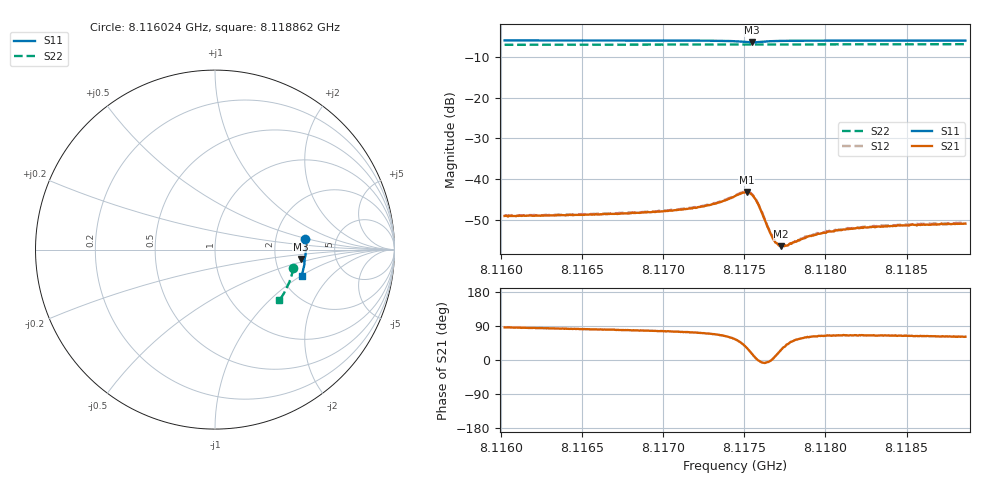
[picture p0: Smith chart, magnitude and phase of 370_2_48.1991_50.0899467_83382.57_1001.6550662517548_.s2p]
#  HZ  S  RI  R  50.00
! Rohde & Schwarz Vector Network Analyzer
! Rohde-Schwarz,ZNB20-2Port,1311601062101988,3.16
! Created: UTC 3/20/2024, 11:52:40 AM
! freq[Hz]  re:S11  im:S11  re:S21  im:S21  re:S12  im:S12  re:S22  im:S22
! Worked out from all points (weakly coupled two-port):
!   401 points, 8.116024 GHz to 8.118862 GHz, reference 50 ohm
!   highest |S21| = -43.22 dB at 8.117514 GHz (marker M1); lowest = -56.5 dB at 8.117727 GHz (marker M2)
!   lowest |S11| = -6.4 dB at 8.11755 GHz (marker M3), VSWR 2.85, Z = 140 - j18.9 ohm
!   |S11| at or under -10 dB: nowhere
!   |S22| runs from -7.0 to -6.8 dB; largest |S21 - S12| = 0.00017
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8.1160242e9  0.5041 0.0563  0.000235 0.0035  0.000303 0.00354  0.4368 -0.1028
8.1164995e9  0.5063 0.0207  0.000522 0.00357  0.000563 0.00366  0.4292 -0.135
8.1169749e9  0.5056 -0.016  0.000944 0.00385  0.001 0.00396  0.4194 -0.1665
8.1172445e9  0.5027 -0.0385  0.00151 0.00434  0.00156 0.00441  0.4126 -0.1841
8.1173368e9  0.5001 -0.0471  0.00201 0.00467  0.00206 0.00474  0.4102 -0.1902
8.1174432e9  0.4928 -0.0577  0.00356 0.00503  0.00369 0.00508  0.407 -0.1971
8.1174857e9  0.4864 -0.0599  0.00485 0.00461  0.00497 0.00469  0.4053 -0.1998
8.1175141e9  0.4813 -0.0585  0.00581 0.00373  0.00594 0.00372  0.4045 -0.2014
8.1175354e9  0.4785 -0.055  0.00617 0.00258  0.00634 0.0026  0.4038 -0.2024
8.1175496e9  0.478 -0.0519  0.00613 0.0017  0.00626 0.00165  0.4035 -0.2032
8.1175851e9  0.4822 -0.0459  0.00493 -5.54e-05  0.00502 -7.36e-05  0.4028 -0.205
8.1176489e9  0.4929 -0.048  0.00244 -0.000224  0.00246 -0.000245  0.4014 -0.2092
8.1176773e9  0.4955 -0.0512  0.00184 0.000101  0.00192 8.58e-05  0.4006 -0.211
8.1176986e9  0.4968 -0.0538  0.00158 0.000371  0.00163 0.000384  0.4001 -0.2124
8.117727e9  0.4979 -0.057  0.00133 0.000667  0.00139 0.000646  0.3991 -0.2142
8.1177695e9  0.4986 -0.0616  0.00113 0.00102  0.0012 0.00104  0.398 -0.217
8.117876e9  0.4988 -0.072  0.000946 0.00163  0.00102 0.00168  0.3947 -0.2238
8.1179185e9  0.4986 -0.0758  0.000944 0.00177  0.000984 0.00179  0.3933 -0.2265
8.1180179e9  0.4976 -0.0842  0.00097 0.00203  0.000972 0.00206  0.39 -0.2326
8.1181314e9  0.4959 -0.0932  0.00101 0.00221  0.00107 0.00223  0.3861 -0.2395
8.1183939e9  0.4918 -0.1132  0.00113 0.00236  0.00118 0.00243  0.3767 -0.2555
8.1188622e9  0.4825 -0.1472  0.00135 0.00248  0.00139 0.00249  0.3582 -0.2827
